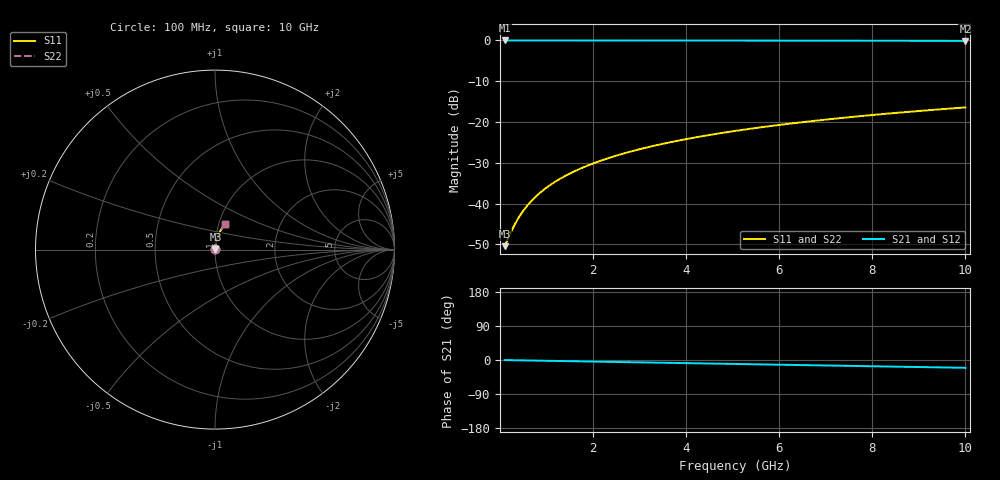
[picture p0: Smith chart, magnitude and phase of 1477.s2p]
# Hz S RI R 50.00
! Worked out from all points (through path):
!   100 points, 100 MHz to 10 GHz, reference 50 ohm
!   highest |S21| = -0.02 dB at 100 MHz (marker M1); lowest = -0.1 dB at 10 GHz (marker M2)
!   group delay of S21, straight-line fit = 5.73 ps
!   lowest |S11| = -50.4 dB at 100 MHz (marker M3), VSWR 1.01, Z = 50.3 + j0.155 ohm
!   |S11| at or under -10 dB: start of sweep to end of sweep
!   |S22| runs from -50.4 to -16.4 dB; largest |S21 - S12| = 0
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1e8  0.00259 0.00154  0.9974 -0.0036  0.9974 -0.0036  0.00259 0.00154
2e8  0.00263 0.00308  0.9974 -0.0072  0.9974 -0.0072  0.00263 0.00308
3e8  0.00267 0.00462  0.9973 -0.0108  0.9973 -0.0108  0.00267 0.00462
4e8  0.00272 0.00615  0.9972 -0.0144  0.9972 -0.0144  0.00272 0.00615
5e8  0.00277 0.00769  0.9972 -0.018  0.9972 -0.018  0.00277 0.00769
6e8  0.00284 0.00923  0.9971 -0.0216  0.9971 -0.0216  0.00284 0.00923
7e8  0.00292 0.0108  0.997 -0.0252  0.997 -0.0252  0.00292 0.0108
9e8  0.00311 0.0138  0.9967 -0.0324  0.9967 -0.0324  0.00311 0.0138
1e9  0.00322 0.0154  0.9965 -0.036  0.9965 -0.036  0.00322 0.0154
1.2e9  0.00347 0.0184  0.9962 -0.0432  0.9962 -0.0432  0.00347 0.0184
1.5e9  0.00393 0.023  0.9956 -0.054  0.9956 -0.054  0.00393 0.023
1.8e9  0.00449 0.0276  0.9948 -0.0648  0.9948 -0.0648  0.00449 0.0276
2.1e9  0.00515 0.0322  0.9939 -0.0755  0.9939 -0.0755  0.00515 0.0322
2.5e9  0.00618 0.0382  0.9924 -0.0898  0.9924 -0.0898  0.00618 0.0382
2.9e9  0.00738 0.0443  0.9908 -0.1041  0.9908 -0.1041  0.00738 0.0443
3.4e9  0.00913 0.0517  0.9883 -0.122  0.9883 -0.122  0.00913 0.0517
4.2e9  0.0125 0.0636  0.9837 -0.1503  0.9837 -0.1503  0.0125 0.0636
5.1e9  0.017 0.0766  0.9773 -0.182  0.9773 -0.182  0.017 0.0766
5.9e9  0.0218 0.0879  0.9706 -0.2098  0.9706 -0.2098  0.0218 0.0879
6.7e9  0.0272 0.0989  0.963 -0.2374  0.963 -0.2374  0.0272 0.0989
8.4e9  0.0407 0.121  0.9439 -0.2948  0.9439 -0.2948  0.0407 0.121
1e10  0.0557 0.1402  0.9224 -0.3472  0.9224 -0.3472  0.0557 0.1402
